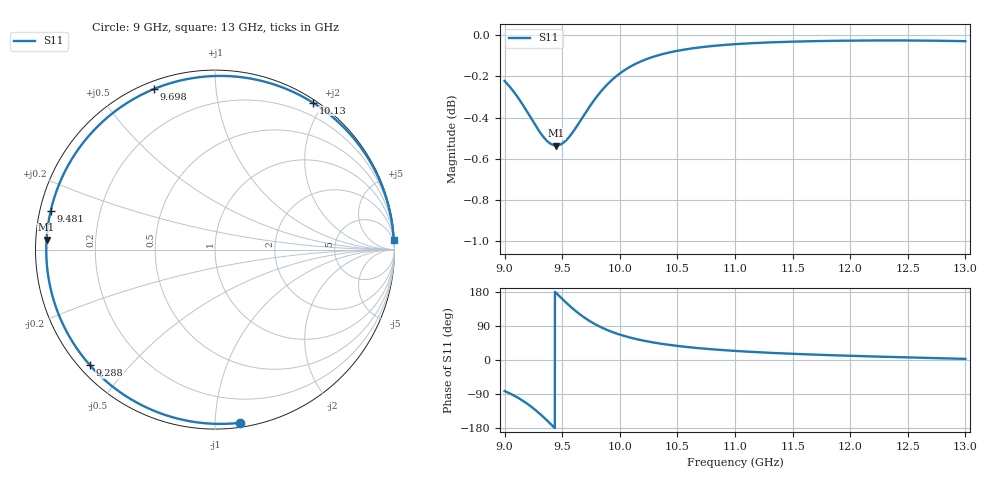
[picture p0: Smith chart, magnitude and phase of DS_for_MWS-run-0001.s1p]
! TOUCHSTONE file generated by CST DESIGN STUDIO
! Date and time: Tue Feb  4 14:13:17 2025
! Project name: C:\Work\MatlabApps\UnitCellOptimizationMatlab\CST\unitcell.cst
! Tree item: Tasks\Sweep1\SPara1\S-Parameters
! Header version: 2024
! Port assignment regex: !\s*Touchstone port\s*([0-9]+)\s*=\s*(CST MWS port|CST DES external port|CST DES block port)\s*(.+)\s* \(\"(.*)\"\)(\s*mode\s*([0-9]+))?.*
! Touchstone port assignment:
! Touchstone port 1 = CST DES external port 1 ("")
# GHz S MA R 50
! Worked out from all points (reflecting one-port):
!   4001 points, 9 GHz to 13 GHz, reference 50 ohm
!   lowest |S11| = -0.5 dB at 9.448 GHz (marker M1), VSWR 32.43, Z = 1.54 + j1.45 ohm
!   phase of S11 starts at -82 deg and turns -275 deg over the sweep
!   S11 on the Smith chart (normalised r, x): 9 GHz: 0.03, -1.15; 9.288 GHz: 0.03, -0.39; 9.481 GHz: 0.03, +0.12; 9.698 GHz: 0.03, +0.69; 10.13 GHz: 0.04, +1.87; 13 GHz: 2, +38
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9  0.9747 -81.9
9.089  0.9681 -95.1
9.161  0.9615 -108.1
9.226  0.955 -122.0
9.288  0.9489 -137.3
9.333  0.945 -149.5
9.373  0.9423 -160.9
9.411  0.9407 -172.2
9.448  0.9402 176.7
9.481  0.9406 166.8
9.5  0.9412 161.2
9.552  0.9441 146.3
9.6  0.9479 133.5
9.648  0.9523 121.8
9.698  0.9571 110.8
9.756  0.9625 99.6
9.822  0.968 88.7
9.909  0.974 76.9
10  0.9789 67.0
10.128  0.9838 56.3
10.295  0.9881 46.1
10.5  0.9914 37.1
10.723  0.9935 30.2
11  0.995 24.0
11.5  0.9964 16.4
12  0.997 11.1
12.5  0.9971 6.8
13  0.9967 3.0
